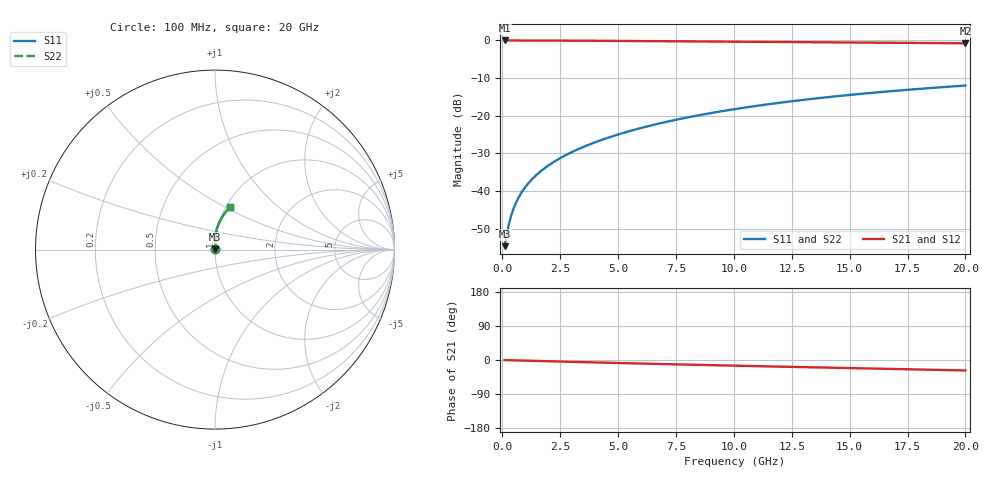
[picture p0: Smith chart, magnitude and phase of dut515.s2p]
! Touchstone file exported from HFSS 2024.1.0
!  File:  C:/UserFiles/LocalFiles/RDL_TSV_Batchsim/temp_RDL_bottom_515_1779687858.aedt
!  Generated:  01:46:31 PM May 25, 2026
!  Design:  RDL_bottom
!  Project:  temp_RDL_bottom_515_1779687858
!  Setup:  Setup1
!  Solution:  Sweep
! Variables:
!  dtsv = 10.80580581um
!  hbump = 3um
!  htsv = 56.73um
!  ldown = 404.02um
!  lrdl = 100um
!  p = 40
!  p1 = 46.84um
!  rhole = 1um
!  t = 450um
!  tdown = 4.98um
!  trdl = 3.915915916um
!  wdown = 23.05um
!  wrdl = 20um
# GHz S MA R 50.000000
! Terminal data exported
! Port[1] = RDL1_T1
! Port[2] = RDL1_T2
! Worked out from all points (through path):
!   200 points, 100 MHz to 20 GHz, reference 50 ohm
!   highest |S21| = -0.01 dB at 100 MHz (marker M1); lowest = -0.8 dB at 20 GHz (marker M2)
!   group delay of S21, straight-line fit = 3.78 ps
!   lowest |S11| = -54.6 dB at 100 MHz (marker M3), VSWR 1.00, Z = 50.1 + j0.121 ohm
!   |S11| at or under -10 dB: start of sweep to end of sweep
!   |S22| runs from -54.6 to -12.0 dB; largest |S21 - S12| = 5.1e-15
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0.1  0.00186 40.3  0.9986 -0.2  0.9986 -0.2  0.00186 40.3
! Gamma 0 0 0 0
! Port Impedance 50 0 50 0
0.2  0.002778 59.5  0.9985 -0.3  0.9985 -0.3  0.002778 59.5
0.3  0.003831 68.5  0.9983 -0.5  0.9983 -0.5  0.003829 68.5
0.4  0.004917 73.4  0.9982 -0.7  0.9982 -0.7  0.004914 73.4
0.5  0.006009 76.4  0.9981 -0.8  0.9981 -0.8  0.006005 76.4
0.7  0.008178 79.7  0.9979 -1.2  0.9979 -1.2  0.008174 79.8
0.8  0.009253 80.7  0.9978 -1.3  0.9978 -1.3  0.009249 80.8
1  0.01139 82.2  0.9975 -1.7  0.9975 -1.7  0.01138 82.2
1.2  0.0135 83.2  0.9972 -2.0  0.9972 -2.0  0.0135 83.2
1.4  0.01561 84.0  0.9968 -2.3  0.9968 -2.3  0.01561 84.0
1.7  0.01878 84.9  0.9963 -2.8  0.9963 -2.8  0.01878 84.9
2  0.02198 85.7  0.9956 -3.3  0.9956 -3.3  0.02198 85.7
2.7  0.02957 87.0  0.9936 -4.4  0.9936 -4.4  0.02957 87.0
3.5  0.03857 87.9  0.9909 -5.7  0.9909 -5.7  0.03857 87.9
4.2  0.04675 88.3  0.9881 -6.7  0.9881 -6.7  0.04674 88.2
5  0.05641 88.4  0.9848 -7.9  0.9848 -7.9  0.05641 88.3
6.8  0.07925 87.6  0.9766 -10.5  0.9766 -10.5  0.07924 87.6
8.4  0.1004 86.1  0.9692 -12.8  0.9692 -12.8  0.1004 86.1
10.1  0.1234 84.1  0.9613 -15.1  0.9613 -15.1  0.1234 84.1
13.4  0.1679 79.6  0.9463 -19.4  0.9463 -19.4  0.1679 79.5
16.7  0.211 74.8  0.9315 -23.5  0.9315 -23.5  0.211 74.8
20  0.2518 70.2  0.9165 -27.6  0.9165 -27.6  0.2518 70.1
